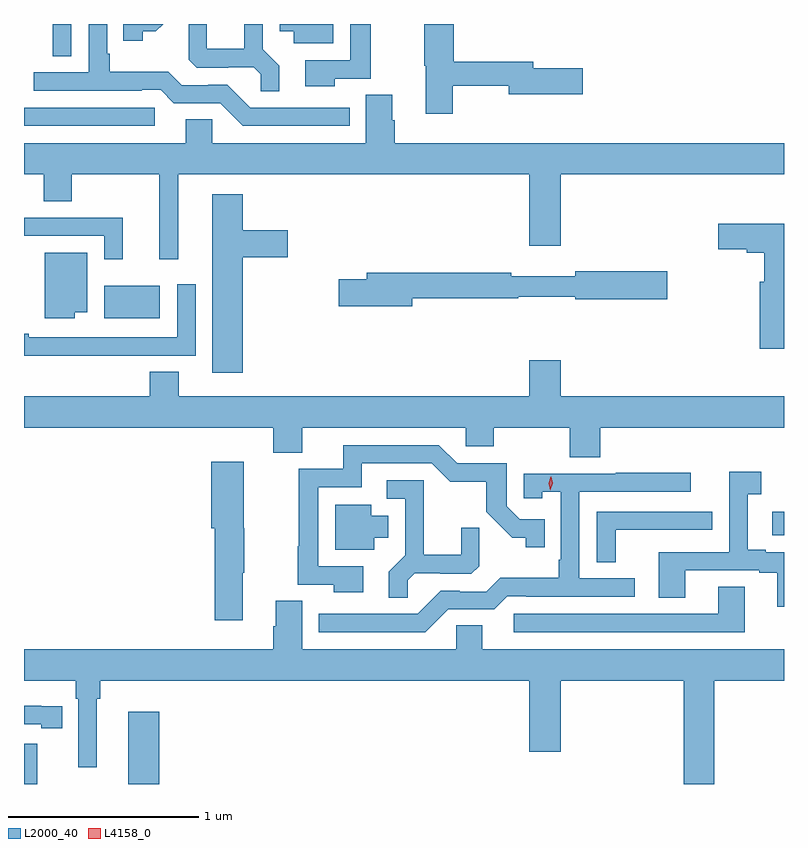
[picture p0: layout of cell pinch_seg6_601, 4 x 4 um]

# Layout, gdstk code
import gdstk
lib = gdstk.Library(unit=1e-6, precision=1e-09)
def R(c, l, rs):  # rectangles x0, y0, x1, y1
    for r in rs: c.add(gdstk.rectangle(r[:2], r[2:], *l))
def P(c, l, *ps):  # polygons
    for p in ps: c.add(gdstk.Polygon(p, *l))
L2000_40 = (2000, 40)
L4158_0 = (4158, 0)

pinch_seg6_601 = lib.new_cell('pinch_seg6_601')
R(pinch_seg6_601, L2000_40, [(438.072,961.444,438.143,961.657), (438.62,961.444,438.784,961.825), (442.011,962.753,442.072,962.877), (438.494,963.896,438.787,964.066), (438.072,964.908,438.76,965.004), (438.223,965.275,438.321,965.444)])
P(pinch_seg6_601, L2000_40, [(440.328,965.118),(440.624,965.118),(440.624,965.075),(441.013,965.075),(441.013,965.21),(440.752,965.21),(440.752,965.246),(440.333,965.246),(440.333,965.444),(440.179,965.444),(440.179,965.223),(440.186,965.223),(440.186,964.971),(440.328,964.971)],
  [(439.699,965.444),(439.418,965.444),(439.418,965.405),(439.493,965.405),(439.493,965.342),(439.699,965.342)],
  [(439.707,965.157),(439.897,965.157),(439.897,965.444),(439.788,965.444),(439.788,965.253),(439.551,965.253),(439.551,965.117),(439.707,965.117)],
  [(438.696,965.405),(438.766,965.405),(438.805,965.444),(438.595,965.444),(438.595,965.355),(438.696,965.355)],
  [(439.415,965.225),(439.329,965.311),(439.329,965.444),(439.232,965.444),(439.232,965.314),(439.034,965.314),(439.034,965.444),(438.94,965.444),(438.94,965.255),(438.981,965.214),(439.146,965.214),(439.146,965.217),(439.28,965.217),(439.317,965.18),(439.317,965.089),(439.415,965.089)],
  [(439.786,965.004),(439.263,965.004),(439.143,965.124),(439.042,965.124),(439.042,965.121),(438.903,965.121),(438.83,965.194),(438.523,965.194),(438.523,965.287),(438.51,965.287),(438.51,965.444),(438.414,965.444),(438.414,965.19),(438.123,965.19),(438.123,965.094),(438.692,965.094),(438.692,965.097),(438.792,965.097),(438.861,965.028),(439.104,965.028),(439.224,964.908),(439.786,964.908)],
  [(438.884,964.652),(440.732,964.652),(440.732,964.278),(440.896,964.278),(440.896,964.652),(442.072,964.652),(442.072,964.816),(440.024,964.816),(440.024,964.938),(440.011,964.938),(440.011,965.072),(439.871,965.072),(439.871,964.816),(439.062,964.816),(439.062,964.943),(438.923,964.943),(438.923,964.816),(438.072,964.816),(438.072,964.652),(438.176,964.652),(438.176,964.51),(438.324,964.51),(438.324,964.652),(438.785,964.652),(438.785,964.206),(438.884,964.206)],
  [(439.223,964.217),(439.459,964.217),(439.459,964.359),(439.223,964.359),(439.223,964.549),(439.064,964.549),(439.064,963.609),(439.223,963.609)],
  [(438.593,964.425),(438.072,964.425),(438.072,964.329),(438.495,964.329),(438.495,964.206),(438.593,964.206)],
  [(442.072,964.393),(441.726,964.393),(441.726,964.259),(441.875,964.259),(441.875,964.241),(441.967,964.241),(441.967,964.087),(441.944,964.087),(441.944,963.735),(442.072,963.735)],
  [(438.34,963.926),(438.406,963.926),(438.406,964.24),(438.182,964.24),(438.182,963.896),(438.34,963.896)],
  [(440.116,964),(440.672,964),(440.672,964.008),(440.972,964.008),(440.972,963.995),(441.457,963.995),(441.457,964.142),(440.972,964.142),(440.972,964.117),(440.636,964.117),(440.636,964.136),(439.877,964.136),(439.877,964.1),(439.728,964.1),(439.728,963.958),(440.116,963.958)],
  [(438.65,963.699),(438.975,963.699),(438.975,964.075),(438.879,964.075),(438.879,963.795),(438.097,963.795),(438.097,963.815),(438.072,963.815),(438.072,963.698),(438.65,963.698)],
  [(441.104,963.32),(442.072,963.32),(442.072,963.484),(440.896,963.484),(440.896,963.673),(440.732,963.673),(440.732,963.484),(438.886,963.484),(438.886,963.614),(438.734,963.614),(438.734,963.484),(438.072,963.484),(438.072,963.32),(439.385,963.32),(439.385,963.187),(439.537,963.187),(439.537,963.32),(440.397,963.32),(440.397,963.222),(440.544,963.222),(440.544,963.32),(440.944,963.32),(440.944,963.163),(441.104,963.163)],
  [(439.858,962.589),(439.62,962.589),(439.62,963.006),(439.849,963.006),(439.849,963.132),(440.217,963.132),(440.316,963.034),(440.505,963.034),(440.505,962.878),(440.642,962.741),(440.712,962.741),(440.712,962.691),(440.813,962.691),(440.813,962.838),(440.682,962.838),(440.613,962.907),(440.613,963.132),(440.352,963.132),(440.256,963.228),(439.751,963.228),(439.751,963.102),(439.519,963.102),(439.519,962.696),(439.512,962.696),(439.512,962.493),(439.702,962.493),(439.702,962.453),(439.858,962.453)],
  [(439.222,962.555),(439.23,962.555),(439.23,962.79),(439.228,962.79),(439.228,963.139),(439.058,963.139),(439.058,962.79),(439.076,962.79),(439.076,962.307),(439.222,962.307)],
  [(442.072,962.664),(441.976,962.664),(441.976,962.677),(441.88,962.677),(441.88,962.968),(441.952,962.968),(441.952,963.088),(441.783,963.088),(441.783,962.664),(441.413,962.664),(441.413,962.425),(441.553,962.425),(441.553,962.568),(441.941,962.568),(441.941,962.556),(442.037,962.556),(442.037,962.376),(442.072,962.376)],
  [(440.304,962.364),(440.547,962.364),(440.616,962.433),(440.716,962.433),(440.716,962.43),(441.286,962.43),(441.286,962.526),(440.994,962.526),(440.994,962.982),(441.58,962.982),(441.58,963.081),(441.187,963.081),(441.187,963.078),(440.703,963.078),(440.703,962.949),(440.799,962.949),(440.799,962.981),(440.898,962.981),(440.898,962.623),(440.886,962.623),(440.886,962.53),(440.578,962.53),(440.505,962.457),(440.366,962.457),(440.366,962.46),(440.265,962.46),(440.145,962.34),(439.622,962.34),(439.622,962.244),(440.184,962.244)],
  [(440.091,962.516),(440.128,962.553),(440.262,962.553),(440.262,962.55),(440.427,962.55),(440.468,962.591),(440.468,962.793),(440.374,962.793),(440.374,962.65),(440.177,962.65),(440.177,963.042),(439.98,963.042),(439.98,962.946),(440.079,962.946),(440.079,962.647),(439.993,962.561),(439.993,962.425),(440.091,962.425)],
  [(439.915,962.741),(439.99,962.741),(439.99,962.857),(439.9,962.857),(439.9,962.914),(439.709,962.914),(439.709,962.678),(439.915,962.678)],
  [(441.186,962.781),(441.581,962.781),(441.581,962.782),(441.694,962.782),(441.694,962.877),(441.087,962.877),(441.087,962.611),(441.186,962.611)],
  [(441.865,962.483),(441.725,962.483),(441.725,962.34),(440.649,962.34),(440.649,962.244),(441.865,962.244)],
  [(441.705,961.988),(442.072,961.988),(442.072,962.152),(440.485,962.152),(440.485,962.279),(440.346,962.279),(440.346,962.152),(439.537,962.152),(439.537,962.408),(439.397,962.408),(439.397,962.274),(439.385,962.274),(439.385,962.152),(438.072,962.152),(438.072,961.988),(438.344,961.988),(438.344,961.892),(438.357,961.892),(438.357,961.533),(438.454,961.533),(438.454,961.892),(438.473,961.892),(438.473,961.988),(440.732,961.988),(440.732,961.614),(440.896,961.614),(440.896,961.988),(441.545,961.988),(441.545,961.444),(441.705,961.444)],
  [(438.272,961.854),(438.164,961.854),(438.164,961.855),(438.072,961.855),(438.072,961.758),(438.164,961.758),(438.164,961.738),(438.272,961.738)])
P(pinch_seg6_601, L4158_0, [(440.843,962.991),(440.843,962.991),(440.834,963.027),(440.845,963.062),(440.846,963.062),(440.846,963.062),(440.854,963.026),(440.843,962.991)])

lib.write_gds('pinch_seg6_601.gds')
